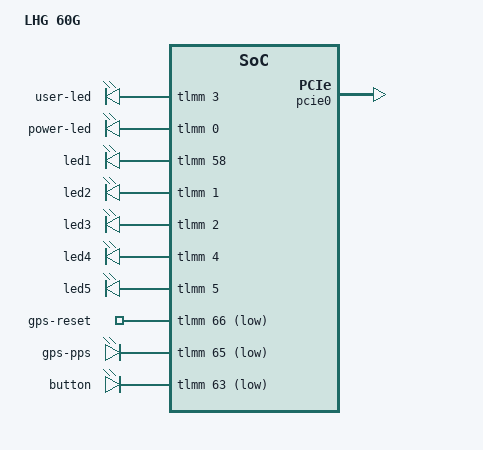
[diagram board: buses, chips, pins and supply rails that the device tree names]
/dts-v1/;
#define BIG_DK
#include "ipq40xx.dtsi"

/ {
	model = "LHG 60G";
	leds {
		compatible = "leds-rb";
		user-led {
			gpios = <&tlmm 3 GPIO_ACTIVE_HIGH>;
		};
		power-led {
			gpios = <&tlmm 0 GPIO_ACTIVE_HIGH>;
			default-state = "keep";
		};
		led1 {
			gpios = <&tlmm 58 GPIO_ACTIVE_HIGH>;
		};
		led2 {
			gpios = <&tlmm 1 GPIO_ACTIVE_HIGH>;
		};
		led3 {
			gpios = <&tlmm 2 GPIO_ACTIVE_HIGH>;
		};
		led4 {
			gpios = <&tlmm 4 GPIO_ACTIVE_HIGH>;
		};
		led5 {
			gpios = <&tlmm 5 GPIO_ACTIVE_HIGH>;
		};
		gps-reset {
			gpios = <&tlmm 66 GPIO_ACTIVE_LOW>;
		};
		gps-pps {
			gpios = <&tlmm 65 GPIO_ACTIVE_LOW>;
			default-state = "input";
		};
		button {
			gpios = <&tlmm 63 GPIO_ACTIVE_LOW>;
			default-state = "input";
		};
	};
};

&soc {
	/delete-node/ wifi@a000000;
};

&edma {
	port_map = <0x100004 (-1)>;
};

&pcie0 {
	perst-gpio = <&tlmm 42 GPIO_ACTIVE_HIGH>;
	status = "ok";
};
